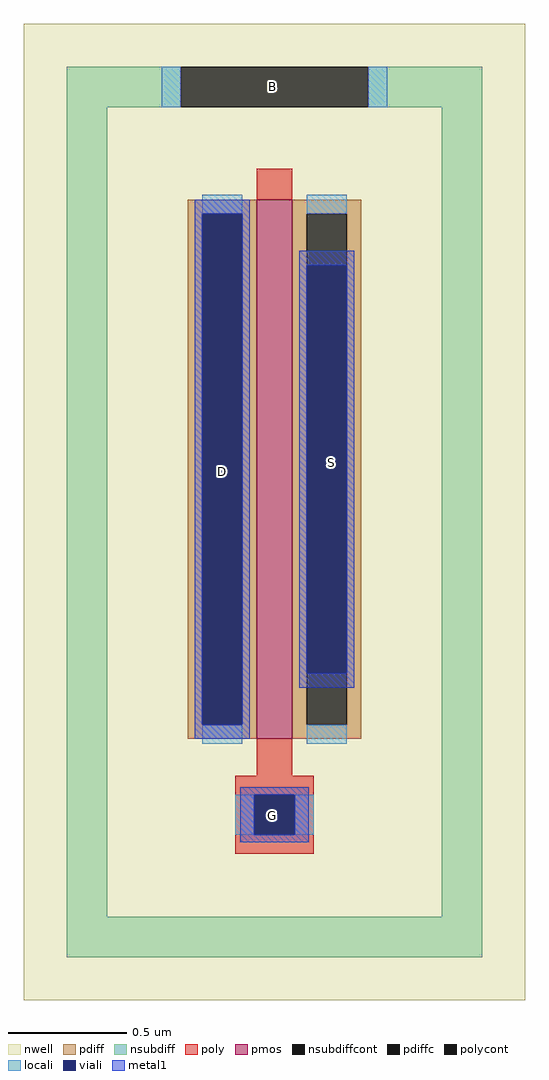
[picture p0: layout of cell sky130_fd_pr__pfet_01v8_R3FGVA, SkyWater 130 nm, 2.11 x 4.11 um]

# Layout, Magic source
magic
tech sky130A
magscale 1 2
<< nwell >>
rect -211 -411 211 411
<< pmos >>
rect -15 -191 15 263
<< pdiff >>
rect -73 251 -15 263
rect -73 -179 -61 251
rect -27 -179 -15 251
rect -73 -191 -15 -179
rect 15 251 73 263
rect 15 -179 27 251
rect 61 -179 73 251
rect 15 -191 73 -179
<< pdiffc >>
rect -61 -179 -27 251
rect 27 -179 61 251
<< nsubdiff >>
rect -175 341 -79 375
rect 79 341 175 375
rect -175 -341 -141 341
rect 141 -341 175 341
rect -175 -375 175 -341
<< nsubdiffcont >>
rect -79 341 79 375
<< poly >>
rect -15 263 15 289
rect -15 -222 15 -191
rect -33 -238 33 -222
rect -33 -272 -17 -238
rect 17 -272 33 -238
rect -33 -288 33 -272
<< polycont >>
rect -17 -272 17 -238
<< locali >>
rect -95 341 -79 375
rect 79 341 95 375
rect -61 251 -27 267
rect -61 -195 -27 -179
rect 27 251 61 267
rect 27 -195 61 -179
rect -33 -272 -17 -238
rect 17 -272 33 -238
<< viali >>
rect -61 -179 -27 251
rect 27 -136 61 208
rect -17 -272 17 -238
<< metal1 >>
rect -67 251 -21 263
rect -67 -179 -61 251
rect -27 -179 -21 251
rect 21 208 67 220
rect 21 -136 27 208
rect 61 -136 67 208
rect 21 -148 67 -136
rect -67 -191 -21 -179
rect -29 -238 29 -232
rect -29 -272 -17 -238
rect 17 -272 29 -238
rect -29 -278 29 -272
<< labels >>
flabel metal1 s -44 34 -44 34 0 FreeSans 480 0 0 0 D
port 1 nsew
flabel metal1 s 48 42 48 42 0 FreeSans 480 0 0 0 S
port 3 nsew
flabel metal1 s -2 -256 -2 -256 0 FreeSans 480 0 0 0 G
port 4 nsew
flabel nsubdiffcont -2 358 -2 358 0 FreeSans 480 0 0 0 B
port 5 nsew
<< properties >>
string FIXED_BBOX -158 -358 158 358
string gencell sky130_fd_pr__pfet_01v8
string library sky130
string parameters w 2.27 l 0.15 m 1 nf 1 diffcov 100 polycov 100 guard 1 glc 0 grc 0 gtc 1 gbc 0 tbcov 100 rlcov 100 topc 0 botc 1 poverlap 0 doverlap 1 lmin 0.15 wmin 0.42 compatible {sky130_fd_pr__pfet_01v8  sky130_fd_pr__pfet_01v8_lvt sky130_fd_pr__pfet_01v8_hvt  sky130_fd_pr__pfet_g5v0d10v5} full_metal 0 viasrc 80 viadrn 100 viagate 100 viagb 0 viagr 0 viagl 0 viagt 0
<< end >>
